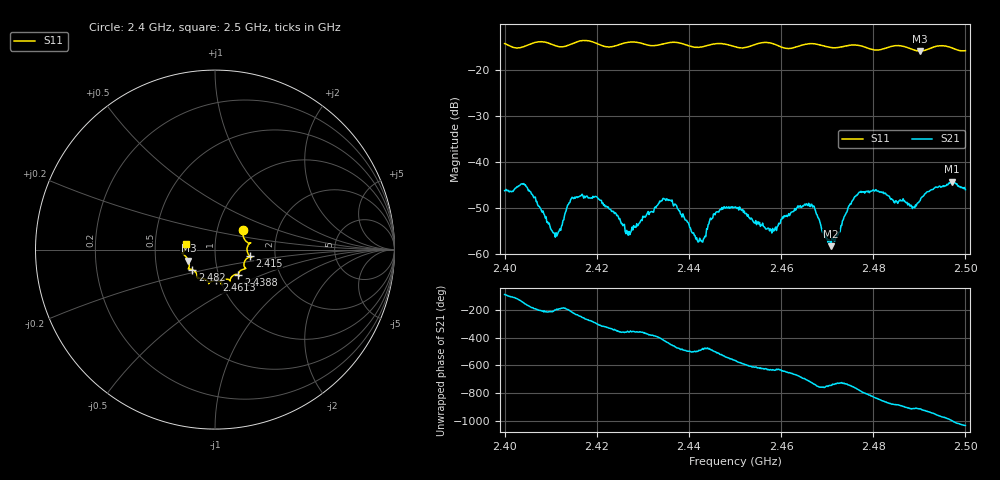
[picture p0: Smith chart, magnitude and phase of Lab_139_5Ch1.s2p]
# Hz S RI R 50
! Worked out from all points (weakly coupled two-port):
!   601 points, 2.4 GHz to 2.5 GHz, reference 50 ohm
!   highest |S21| = -44.29 dB at 2.497 GHz (marker M1); lowest = -58.3 dB at 2.4708 GHz (marker M2)
!   lowest |S11| = -15.9 dB at 2.4902 GHz (marker M3), VSWR 1.38, Z = 36.8 - j4.67 ohm
!   |S11| at or under -10 dB: start of sweep to end of sweep
!   S12 and S22 are empty: the file has one direction only
!   S11 on the Smith chart (normalised r, x): 2.4 GHz: 1.33, +0.31; 2.415 GHz: 1.47, -0.11; 2.4388 GHz: 1.24, -0.36; 2.4613 GHz: 0.96, -0.34; 2.482 GHz: 0.76, -0.17; 2.5 GHz: 0.72, +0.05
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2.4e9  0.158 0.1118  0.000126 -0.00489  0 0  0 0
2.404333e9  0.1751 0.0441  -0.00508 -0.0025  0 0  0 0
2.411e9  0.1825 0.0201  -0.00143 0.000535  0 0  0 0
2.415e9  0.1923 -0.0363  -0.00291 0.00276  0 0  0 0
2.416667e9  0.2033 -0.044  -0.00155 0.00404  0 0  0 0
2.4205e9  0.184 -0.0452  0.00251 0.00305  0 0  0 0
2.426833e9  0.1706 -0.1044  0.0016 8.5e-05  0 0  0 0
2.433333e9  0.1324 -0.1314  0.00282 -0.00207  0 0  0 0
2.438833e9  0.1298 -0.1406  -0.00165 -0.00201  0 0  0 0
2.4425e9  0.0949 -0.1493  -0.000911 -0.00106  0 0  0 0
2.445833e9  0.0839 -0.1738  -0.00225 -0.00173  0 0  0 0
2.45e9  0.0688 -0.165  -0.00296 0.00135  0 0  0 0
2.458e9  0.0379 -0.191  0.000114 0.00169  0 0  0 0
2.461333e9  0.00777 -0.1711  0.000823 0.00243  0 0  0 0
2.466667e9  -0.0349 -0.1901  0.00347 -0.000259  0 0  0 0
2.470833e9  -0.0519 -0.1672  0.00111 -0.0005  0 0  0 0
2.4765e9  -0.0961 -0.1591  0.00281 -0.00335  0 0  0 0
2.482e9  -0.1257 -0.1116  -0.00329 -0.00328  0 0  0 0
2.483333e9  -0.1394 -0.1088  -0.00377 -0.00203  0 0  0 0
2.490167e9  -0.1482 -0.0617  -0.0037 0.0009  0 0  0 0
2.497e9  -0.174 -0.0112  0.000718 0.00606  0 0  0 0
2.5e9  -0.1589 0.0325  0.00341 0.00368  0 0  0 0
